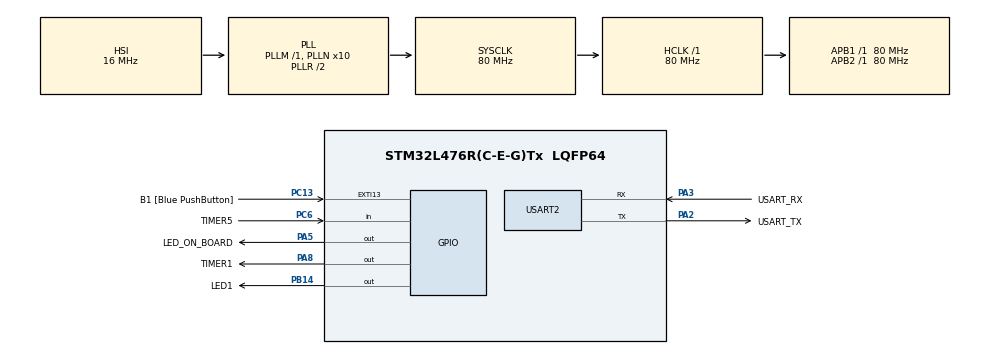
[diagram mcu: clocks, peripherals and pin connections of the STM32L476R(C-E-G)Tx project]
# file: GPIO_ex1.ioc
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Mcu.Family=STM32L4
Mcu.Name=STM32L476R(C-E-G)Tx
Mcu.Package=LQFP64
NVIC.PriorityGroup=NVIC_PRIORITYGROUP_4
NVIC.USART2_IRQn=true\:0\:0\:false\:false\:true\:true\:true\:true
PA13\ (JTMS-SWDIO).GPIO_Label=TMS
PA13\ (JTMS-SWDIO).Mode=Serial_Wire
PA13\ (JTMS-SWDIO).Signal=SYS_JTMS-SWDIO
PA14\ (JTCK-SWCLK).GPIO_Label=TCK
PA14\ (JTCK-SWCLK).Mode=Serial_Wire
PA14\ (JTCK-SWCLK).Signal=SYS_JTCK-SWCLK
PA2.GPIO_Label=USART_TX
PA2.GPIO_Mode=GPIO_MODE_AF_PP
PA2.GPIO_PuPd=GPIO_NOPULL
PA2.GPIO_Speed=GPIO_SPEED_FREQ_VERY_HIGH
PA2.Mode=Asynchronous
PA2.Signal=USART2_TX
PA3.GPIO_Label=USART_RX
PA3.GPIO_Mode=GPIO_MODE_AF_PP
PA3.GPIO_PuPd=GPIO_NOPULL
PA3.GPIO_Speed=GPIO_SPEED_FREQ_VERY_HIGH
PA3.Mode=Asynchronous
PA3.Signal=USART2_RX
PA5.GPIO_Label=LED_ON_BOARD
PA5.GPIO_ModeDefaultOutputPP=GPIO_MODE_OUTPUT_PP
PA5.GPIO_PuPd=GPIO_NOPULL
PA5.GPIO_Speed=GPIO_SPEED_FREQ_LOW
PA5.Signal=GPIO_Output
PA8.GPIO_Label=TIMER1
PA8.Signal=GPIO_Output
PB14.GPIO_Label=LED1
PB14.Signal=GPIO_Output
PB3\ (JTDO-TRACESWO).GPIO_Label=SWO
PB3\ (JTDO-TRACESWO).Signal=SYS_JTDO-SWO
PC13.GPIO_Label=B1 [Blue PushButton]
PC13.GPIO_ModeDefaultEXTI=GPIO_MODE_IT_FALLING
PC13.GPIO_PuPd=GPIO_NOPULL
PC13.Signal=GPXTI13
PC14-OSC32_IN\ (PC14).Mode=LSE-External-Oscillator
PC14-OSC32_IN\ (PC14).Signal=RCC_OSC32_IN
PC15-OSC32_OUT\ (PC15).Mode=LSE-External-Oscillator
PC15-OSC32_OUT\ (PC15).Signal=RCC_OSC32_OUT
PC6.GPIO_Label=TIMER5
PC6.Signal=GPIO_Input
PH0-OSC_IN\ (PH0).Signal=RCC_OSC_IN
PH1-OSC_OUT\ (PH1).Signal=RCC_OSC_OUT
ProjectManager.HeapSize=0x200
ProjectManager.StackSize=0x400
ProjectManager.TargetToolchain=CMake
RCC.ADCFreq_Value=64000000
RCC.AHBFreq_Value=80000000
RCC.APB1Freq_Value=80000000
RCC.APB1TimFreq_Value=80000000
RCC.APB2Freq_Value=80000000
RCC.APB2TimFreq_Value=80000000
RCC.CortexFreq_Value=80000000
RCC.HCLKFreq_Value=80000000
RCC.HSE_VALUE=8000000
RCC.HSI_VALUE=16000000
RCC.MSI_VALUE=4000000
RCC.PLLN=10
RCC.PLLSourceVirtual=RCC_PLLSOURCE_HSI
RCC.PREFETCH_ENABLE=1
RCC.SYSCLKFreq_VALUE=80000000
RCC.SYSCLKSource=RCC_SYSCLKSOURCE_PLLCLK
RCC.USBFreq_Value=64000000
RCC.VCOOutputFreq_Value=160000000
USART2.VirtualMode-Asynchronous=VM_ASYNC
board=NUCLEO-L476RG

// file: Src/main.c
/* USER CODE BEGIN Header */
/**
 ******************************************************************************
 * @file           : main.c
 * @brief          : Main program body
 ******************************************************************************
 ** This notice applies to any and all portions of this file
 * that are not between comment pairs USER CODE BEGIN and
 * USER CODE END. Other portions of this file, whether
 * inserted by the user or by software development tools
 * are owned by their respective copyright owners.
 *
 * COPYRIGHT(c) 2019 STMicroelectronics
 *
 * Redistribution and use in source and binary forms, with or without modification,
 * are permitted provided that the following conditions are met:
 *   1. Redistributions of source code must retain the above copyright notice,
 *      this list of conditions and the following disclaimer.
 *   2. Redistributions in binary form must reproduce the above copyright notice,
 *      this list of conditions and the following disclaimer in the documentation
 *      and/or other materials provided with the distribution.
 *   3. Neither the name of STMicroelectronics nor the names of its contributors
 *      may be used to endorse or promote products derived from this software
 *      without specific prior written permission.
 *
 * THIS SOFTWARE IS PROVIDED BY THE COPYRIGHT HOLDERS AND CONTRIBUTORS "AS IS"
 * AND ANY EXPRESS OR IMPLIED WARRANTIES, INCLUDING, BUT NOT LIMITED TO, THE
 * IMPLIED WARRANTIES OF MERCHANTABILITY AND FITNESS FOR A PARTICULAR PURPOSE ARE
 * DISCLAIMED. IN NO EVENT SHALL THE COPYRIGHT HOLDER OR CONTRIBUTORS BE LIABLE
 * FOR ANY DIRECT, INDIRECT, INCIDENTAL, SPECIAL, EXEMPLARY, OR CONSEQUENTIAL
 * DAMAGES (INCLUDING, BUT NOT LIMITED TO, PROCUREMENT OF SUBSTITUTE GOODS OR
 * SERVICES; LOSS OF USE, DATA, OR PROFITS; OR BUSINESS INTERRUPTION) HOWEVER
 * CAUSED AND ON ANY THEORY OF LIABILITY, WHETHER IN CONTRACT, STRICT LIABILITY,
 * OR TORT (INCLUDING NEGLIGENCE OR OTHERWISE) ARISING IN ANY WAY OUT OF THE USE
 * OF THIS SOFTWARE, EVEN IF ADVISED OF THE POSSIBILITY OF SUCH DAMAGE.
 *
 ******************************************************************************
 */
/* USER CODE END Header */
#include "main.h"
#include "stm32l4xx_hal.h"
#include "stm32l4xx_hal_gpio.h"
#include "usart.h"
#include "gpio.h"

/* USER CODE BEGIN Includes */

#include <stdio.h>

/* USER CODE END Includes */

/* USER CODE BEGIN PD */
#define RX_BUF_SIZE 64

/* USER CODE END PD */

void SystemClock_Config(void);

/* USER CODE BEGIN 0 */

int _write(int file, char *ptr, int len) {
	HAL_UART_Transmit(&huart2, (uint8_t*) ptr, len, 50);
	return len;
}

const uint32_t interval = 1000; // blinking interval

// buffer for storing uart characters
volatile uint8_t rx_buffer[RX_BUF_SIZE];
volatile uint16_t rx_head = 0;
volatile uint16_t rx_tail = 0;
uint8_t rx_byte;

void handle_modes()
{
        if (rx_tail != rx_head) {

            // oldest byte
            uint8_t process_byte = rx_buffer[rx_tail];

            rx_tail = (rx_tail + 1) % RX_BUF_SIZE; // advance tail

            switch (process_byte) {

              case '0':

                // HAL_GPIO_TogglePin(LED_ON_BOARD_GPIO_Port, LED_ON_BOARD_Pin);
                // HAL_GPIO_TogglePin(LED1_GPIO_Port, LED1_Pin);
                HAL_GPIO_WritePin(LED1_GPIO_Port, LED1_Pin, GPIO_PIN_RESET);
                HAL_GPIO_WritePin(LED_ON_BOARD_GPIO_Port, LED_ON_BOARD_Pin, GPIO_PIN_RESET);
              break;

              case '1':
                HAL_GPIO_WritePin(LED1_GPIO_Port, LED1_Pin, GPIO_PIN_SET);
                HAL_GPIO_WritePin(LED_ON_BOARD_GPIO_Port, LED_ON_BOARD_Pin, GPIO_PIN_SET);
              break;

              case 't':
                HAL_GPIO_TogglePin(LED_ON_BOARD_GPIO_Port, LED_ON_BOARD_Pin);
                HAL_GPIO_TogglePin(LED1_GPIO_Port, LED1_Pin);

              break;

              default:
                printf("WRONG CHARACTER\r\n");
              break;
            }
            // if (process_byte == 'A') {
            //     // Turn on LED
            // } else if (process_byte == 'B') {
            //     // Turn off LED
            // }
        }
}
/* USER CODE END 0 */

int main(void)
{

  /* USER CODE BEGIN 1 */
	int status = 0;
	int counter = 0;

  /* USER CODE END 1 */

  /* MCU Configuration--------------------------------------------------------*/

  /* Reset of all peripherals, Initializes the Flash interface and the Systick. */
  HAL_Init();

  /* Configure the system clock */
  SystemClock_Config();

  /* Initialize all configured peripherals */
  MX_GPIO_Init();
  MX_USART2_UART_Init();
  /* USER CODE BEGIN 2 */

  HAL_UART_Receive_IT(&huart2, &rx_byte, 1);

  /* USER CODE END 2 */

  /* Infinite loop */
	while (1) {

    /* USER CODE BEGIN 3 */
		// HAL_GPIO_TogglePin(TIMER1_GPIO_Port, TIMER1_Pin);
		// status = HAL_GPIO_ReadPin(TIMER5_GPIO_Port, TIMER5_Pin);

		// printf("Current state of button is %d, (%d)\r\n", status, counter);

		// HAL_GPIO_TogglePin(LED_ON_BOARD_GPIO_Port, LED_ON_BOARD_Pin);
		// HAL_GPIO_TogglePin(LED1_GPIO_Port, LED1_Pin);

    handle_modes();
    HAL_Delay(50);
		// HAL_Delay(1000);

		++counter;
	}
  /* USER CODE END 3 */
}

void SystemClock_Config(void)
{
  RCC_OscInitTypeDef RCC_OscInitStruct = {0};
  RCC_ClkInitTypeDef RCC_ClkInitStruct = {0};

  /** Configure the main internal regulator output voltage
  */
  if (HAL_PWREx_ControlVoltageScaling(PWR_REGULATOR_VOLTAGE_SCALE1) != HAL_OK)
  {
    Error_Handler();
  }

  /** Initializes the RCC Oscillators according to the specified parameters
  * in the RCC_OscInitTypeDef structure.
  */
  RCC_OscInitStruct.OscillatorType = RCC_OSCILLATORTYPE_HSI;
  RCC_OscInitStruct.HSIState = RCC_HSI_ON;
  RCC_OscInitStruct.HSICalibrationValue = RCC_HSICALIBRATION_DEFAULT;
  RCC_OscInitStruct.PLL.PLLState = RCC_PLL_ON;
  RCC_OscInitStruct.PLL.PLLSource = RCC_PLLSOURCE_HSI;
  RCC_OscInitStruct.PLL.PLLM = 1;
  RCC_OscInitStruct.PLL.PLLN = 10;
  RCC_OscInitStruct.PLL.PLLP = RCC_PLLP_DIV7;
  RCC_OscInitStruct.PLL.PLLQ = RCC_PLLQ_DIV2;
  RCC_OscInitStruct.PLL.PLLR = RCC_PLLR_DIV2;
  if (HAL_RCC_OscConfig(&RCC_OscInitStruct) != HAL_OK)
  {
    Error_Handler();
  }

  /** Initializes the CPU, AHB and APB buses clocks
  */
  RCC_ClkInitStruct.ClockType = RCC_CLOCKTYPE_HCLK|RCC_CLOCKTYPE_SYSCLK
                              |RCC_CLOCKTYPE_PCLK1|RCC_CLOCKTYPE_PCLK2;
  RCC_ClkInitStruct.SYSCLKSource = RCC_SYSCLKSOURCE_PLLCLK;
  RCC_ClkInitStruct.AHBCLKDivider = RCC_SYSCLK_DIV1;
  RCC_ClkInitStruct.APB1CLKDivider = RCC_HCLK_DIV1;
  RCC_ClkInitStruct.APB2CLKDivider = RCC_HCLK_DIV1;

  if (HAL_RCC_ClockConfig(&RCC_ClkInitStruct, FLASH_LATENCY_4) != HAL_OK)
  {
    Error_Handler();
  }
}

/* USER CODE BEGIN 4 */
void HAL_UART_RxCpltCallback(UART_HandleTypeDef *huart)
{
  rx_buffer[rx_head] = rx_byte;

  rx_head = (rx_head + 1) % RX_BUF_SIZE; // advance head

  HAL_UART_Receive_IT(&huart2, &rx_byte, 1);
}

/* USER CODE END 4 */

void Error_Handler(void)
{
}
